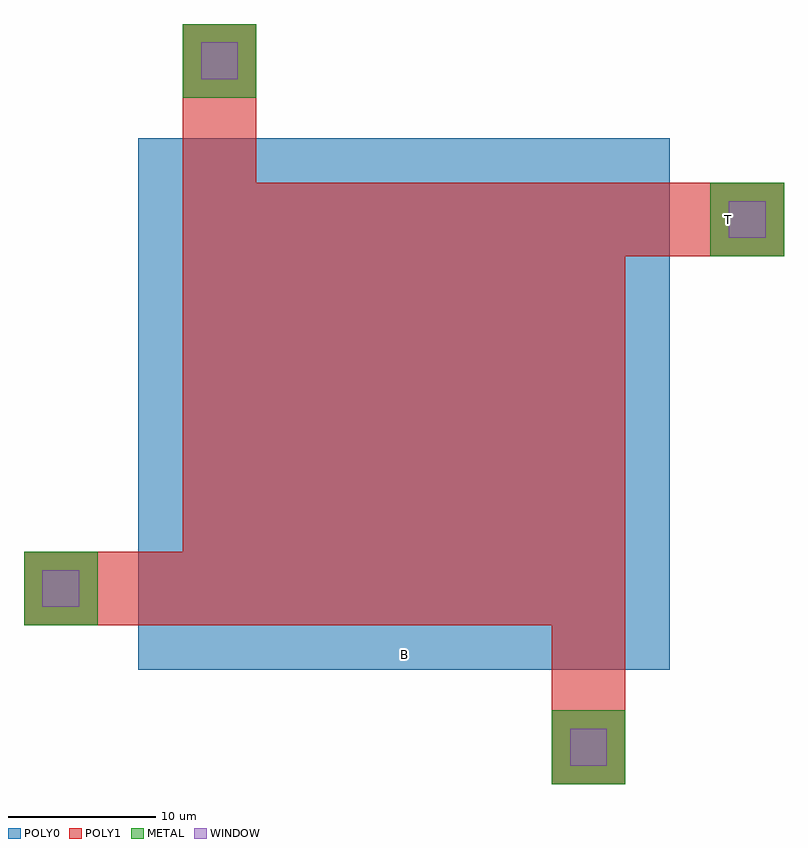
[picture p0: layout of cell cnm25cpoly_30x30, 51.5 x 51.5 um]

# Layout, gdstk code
import gdstk
lib = gdstk.Library(unit=1e-6, precision=1e-09)
def R(c, l, rs):  # rectangles x0, y0, x1, y1
    for r in rs: c.add(gdstk.rectangle(r[:2], r[2:], *l))
POLY0 = (3, 0)
POLY1 = (4, 0)
WINDOW = (6, 0)
METAL = (7, 0)

cnm25cpoly_30x30 = lib.new_cell('cnm25cpoly_30x30')
R(cnm25cpoly_30x30, POLY0, [(-3,-3,33,33)])
R(cnm25cpoly_30x30, POLY1, [(25,-10.75,30,0), (-10.75,0,0,5), (0,0,30,30), (30,25,40.75,30), (0,30,5,40.75)])
R(cnm25cpoly_30x30, WINDOW, [(26.25,-9.5,28.75,-7), (-9.5,1.25,-7,3.75), (37,26.25,39.5,28.75), (1.25,37,3.75,39.5)])
R(cnm25cpoly_30x30, METAL, [(25,-10.75,30,-5.75), (-10.75,0,-5.75,5), (35.75,25,40.75,30), (0,35.75,5,40.75)])
cnm25cpoly_30x30.add(gdstk.Label('B', (15,-2), layer=3, texttype=0))
cnm25cpoly_30x30.add(gdstk.Label('T', (37,27.5), layer=21, texttype=0))

lib.write_gds('cnm25cpoly_30x30.gds')
